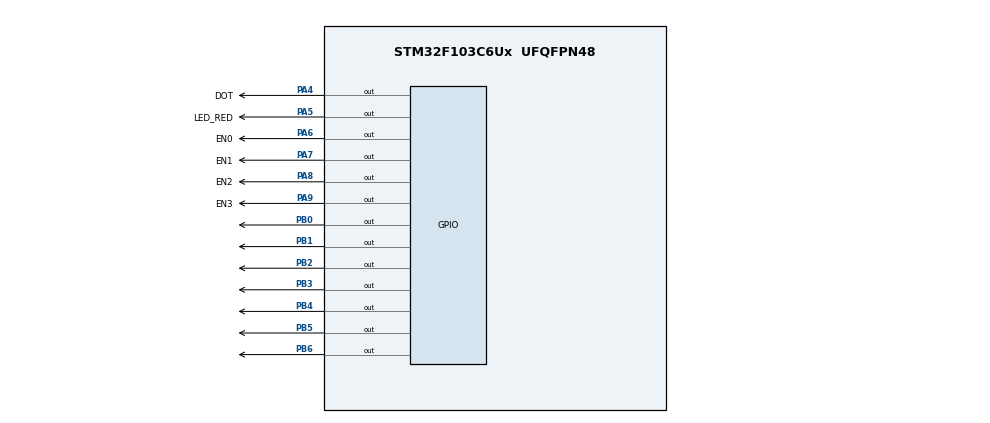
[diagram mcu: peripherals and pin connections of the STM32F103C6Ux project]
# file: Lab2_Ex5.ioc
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Mcu.Family=STM32F1
Mcu.Name=STM32F103C6Ux
Mcu.Package=UFQFPN48
NVIC.PriorityGroup=NVIC_PRIORITYGROUP_4
NVIC.TIM2_IRQn=true\:0\:0\:false\:false\:true\:true\:true
PA4.GPIO_Label=DOT
PA4.Signal=GPIO_Output
PA5.GPIO_Label=LED_RED
PA5.Signal=GPIO_Output
PA6.GPIO_Label=EN0
PA6.Signal=GPIO_Output
PA7.GPIO_Label=EN1
PA7.Signal=GPIO_Output
PA8.GPIO_Label=EN2
PA8.Signal=GPIO_Output
PA9.GPIO_Label=EN3
PA9.Signal=GPIO_Output
PB0.Signal=GPIO_Output
PB1.Signal=GPIO_Output
PB2.Signal=GPIO_Output
PB3.Signal=GPIO_Output
PB4.Signal=GPIO_Output
PB5.Signal=GPIO_Output
PB6.Signal=GPIO_Output
ProjectManager.HeapSize=0x200
ProjectManager.StackSize=0x400
ProjectManager.TargetToolchain=STM32CubeIDE
RCC.APB1Freq_Value=8000000
RCC.APB2Freq_Value=8000000
TIM2.Period=9
TIM2.Prescaler=7999
VP_SYS_VS_ND.Mode=No_Debug
VP_TIM2_VS_ClockSourceINT.Mode=Internal
board=custom

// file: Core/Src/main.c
/* USER CODE BEGIN Header */
/**
  ******************************************************************************
  * @file           : main.c
  * @brief          : Main program body
  ******************************************************************************
  * @attention
  *
  * <h2><center>&copy; Copyright (c) 2026 STMicroelectronics.
  * All rights reserved.</center></h2>
  *
  * This software component is licensed by ST under BSD 3-Clause license,
  * the "License"; You may not use this file except in compliance with the
  * License. You may obtain a copy of the License at:
  *                        opensource.org/licenses/BSD-3-Clause
  *
  ******************************************************************************
  */
/* USER CODE END Header */
#include "main.h"

TIM_HandleTypeDef htim2;

void SystemClock_Config(void);
static void MX_GPIO_Init(void);
static void MX_TIM2_Init(void);

/* USER CODE BEGIN 0 */
int hour = 15;
int minute = 8;
int second = 50;

const int MAX_LED = 4;
int index_led = 0;
int led_buffer[4] = {1,2,3,4};

int timer0_counter = 0;
int timer0_flag = 0;

int TIMER_CYCLE = 10;

int seg_counter = 0;

void display7SEG(int num) {
	const uint8_t segmentNum[10] =
	{
		0x40, // 0100 0000 -> 0
		0x79, // 0111 1001 -> 1
		0x24, // 0010 0100 -> 2
		0x30, // 0011 0000 -> 3
		0x19, // 0001 1001 -> 4
		0x12, // 0001 0010 -> 5
		0x02, // 0000 0010 -> 6
		0x78, // 0111 1000 -> 7
		0x00, // 0000 0000 -> 8
		0x10, // 0001 0000 -> 9
	};

    const uint16_t pin[7] =
    {
        GPIO_PIN_0,
        GPIO_PIN_1,
        GPIO_PIN_2,
        GPIO_PIN_3,
        GPIO_PIN_4,
        GPIO_PIN_5,
        GPIO_PIN_6
    };

    uint8_t hold = segmentNum[num];

    for(int i = 0; i < 7; ++i) {
    	if(hold % 2 == 0)
    		HAL_GPIO_WritePin(GPIOB, pin[i], GPIO_PIN_RESET);
    	else
    		HAL_GPIO_WritePin(GPIOB, pin[i], GPIO_PIN_SET);

    	hold >>= 1;
    }
}

void update7SEG(uint8_t index)
{
    HAL_GPIO_WritePin(EN0_GPIO_Port, EN0_Pin, GPIO_PIN_SET);
    HAL_GPIO_WritePin(EN1_GPIO_Port, EN1_Pin, GPIO_PIN_SET);
    HAL_GPIO_WritePin(EN2_GPIO_Port, EN2_Pin, GPIO_PIN_SET);
    HAL_GPIO_WritePin(EN3_GPIO_Port, EN3_Pin, GPIO_PIN_SET);

    switch (index)
    {
        case 0:
            display7SEG(led_buffer[0]);
            HAL_GPIO_WritePin(EN0_GPIO_Port, EN0_Pin, GPIO_PIN_RESET);
            break;

        case 1:
            display7SEG(led_buffer[1]);
            HAL_GPIO_WritePin(EN1_GPIO_Port, EN1_Pin, GPIO_PIN_RESET);
            break;

        case 2U:
            display7SEG(led_buffer[2]);
            HAL_GPIO_WritePin(EN2_GPIO_Port, EN2_Pin, GPIO_PIN_RESET);
            break;

        case 3U:
            display7SEG(led_buffer[3]);
            HAL_GPIO_WritePin(EN3_GPIO_Port, EN3_Pin, GPIO_PIN_RESET);
            break;

        default:
            break;
    }
}

void updateClockBuffer(void)
{
    led_buffer[0] = hour / 10;
    led_buffer[1] = hour % 10;

    led_buffer[2] = minute / 10;
    led_buffer[3] = minute % 10;
}

void setTimer0(int duration)
{
    timer0_counter = duration / TIMER_CYCLE;
    timer0_flag = 0;
}

void timer_run(void)
{
    if (timer0_counter > 0)
    {
        timer0_counter--;

        if (timer0_counter == 0)  timer0_flag = 1;
    }

}
/* USER CODE END 0 */

int main(void)
{

  /* MCU Configuration--------------------------------------------------------*/

  /* Reset of all peripherals, Initializes the Flash interface and the Systick. */
  HAL_Init();

  /* Configure the system clock */
  SystemClock_Config();

  /* Initialize all configured peripherals */
  MX_GPIO_Init();
  MX_TIM2_Init();

  /* Infinite loop */
  /* USER CODE BEGIN WHILE */

  updateClockBuffer();
  setTimer0(1000);
  HAL_TIM_Base_Start_IT(&htim2);

  while (1)
  {
    /* USER CODE END WHILE */
	  if (timer0_flag == 1)
	  {
		  second++;

	      if (second >= 60)
	      {
	    	  second = 0;
	          minute++;
	      }

	      if (minute >= 60)
	      {
	          minute = 0;
	          hour++;
	      }

	      if (hour >= 24) hour = 0;

          updateClockBuffer();
          HAL_GPIO_TogglePin(LED_RED_GPIO_Port, LED_RED_Pin);
          HAL_GPIO_TogglePin(GPIOA, GPIO_PIN_4);

          setTimer0(1000);
	   }

  }
}

void SystemClock_Config(void)
{
  RCC_OscInitTypeDef RCC_OscInitStruct = {0};
  RCC_ClkInitTypeDef RCC_ClkInitStruct = {0};

  /** Initializes the RCC Oscillators according to the specified parameters
  * in the RCC_OscInitTypeDef structure.
  */
  RCC_OscInitStruct.OscillatorType = RCC_OSCILLATORTYPE_HSI;
  RCC_OscInitStruct.HSIState = RCC_HSI_ON;
  RCC_OscInitStruct.HSICalibrationValue = RCC_HSICALIBRATION_DEFAULT;
  RCC_OscInitStruct.PLL.PLLState = RCC_PLL_NONE;
  if (HAL_RCC_OscConfig(&RCC_OscInitStruct) != HAL_OK)
  {
    Error_Handler();
  }
  /** Initializes the CPU, AHB and APB buses clocks
  */
  RCC_ClkInitStruct.ClockType = RCC_CLOCKTYPE_HCLK|RCC_CLOCKTYPE_SYSCLK
                              |RCC_CLOCKTYPE_PCLK1|RCC_CLOCKTYPE_PCLK2;
  RCC_ClkInitStruct.SYSCLKSource = RCC_SYSCLKSOURCE_HSI;
  RCC_ClkInitStruct.AHBCLKDivider = RCC_SYSCLK_DIV1;
  RCC_ClkInitStruct.APB1CLKDivider = RCC_HCLK_DIV1;
  RCC_ClkInitStruct.APB2CLKDivider = RCC_HCLK_DIV1;

  if (HAL_RCC_ClockConfig(&RCC_ClkInitStruct, FLASH_LATENCY_0) != HAL_OK)
  {
    Error_Handler();
  }
}

static void MX_TIM2_Init(void)
{

  TIM_ClockConfigTypeDef sClockSourceConfig = {0};
  TIM_MasterConfigTypeDef sMasterConfig = {0};

  htim2.Instance = TIM2;
  htim2.Init.Prescaler = 7999;
  htim2.Init.CounterMode = TIM_COUNTERMODE_UP;
  htim2.Init.Period = 9;
  htim2.Init.ClockDivision = TIM_CLOCKDIVISION_DIV1;
  htim2.Init.AutoReloadPreload = TIM_AUTORELOAD_PRELOAD_DISABLE;
  if (HAL_TIM_Base_Init(&htim2) != HAL_OK)
  {
    Error_Handler();
  }
  sClockSourceConfig.ClockSource = TIM_CLOCKSOURCE_INTERNAL;
  if (HAL_TIM_ConfigClockSource(&htim2, &sClockSourceConfig) != HAL_OK)
  {
    Error_Handler();
  }
  sMasterConfig.MasterOutputTrigger = TIM_TRGO_RESET;
  sMasterConfig.MasterSlaveMode = TIM_MASTERSLAVEMODE_DISABLE;
  if (HAL_TIMEx_MasterConfigSynchronization(&htim2, &sMasterConfig) != HAL_OK)
  {
    Error_Handler();
  }

}

static void MX_GPIO_Init(void)
{
  GPIO_InitTypeDef GPIO_InitStruct = {0};

  /* GPIO Ports Clock Enable */
  __HAL_RCC_GPIOA_CLK_ENABLE();
  __HAL_RCC_GPIOB_CLK_ENABLE();

  /*Configure GPIO pin Output Level */
  HAL_GPIO_WritePin(GPIOA, DOT_Pin|LED_RED_Pin|EN0_Pin|EN1_Pin
                          |EN2_Pin|EN3_Pin, GPIO_PIN_RESET);

  /*Configure GPIO pin Output Level */
  HAL_GPIO_WritePin(GPIOB, GPIO_PIN_0|GPIO_PIN_1|GPIO_PIN_2|GPIO_PIN_3
                          |GPIO_PIN_4|GPIO_PIN_5|GPIO_PIN_6, GPIO_PIN_RESET);

  /*Configure GPIO pins : DOT_Pin LED_RED_Pin EN0_Pin EN1_Pin
                           EN2_Pin EN3_Pin */
  GPIO_InitStruct.Pin = DOT_Pin|LED_RED_Pin|EN0_Pin|EN1_Pin
                          |EN2_Pin|EN3_Pin;
  GPIO_InitStruct.Mode = GPIO_MODE_OUTPUT_PP;
  GPIO_InitStruct.Pull = GPIO_NOPULL;
  GPIO_InitStruct.Speed = GPIO_SPEED_FREQ_LOW;
  HAL_GPIO_Init(GPIOA, &GPIO_InitStruct);

  /*Configure GPIO pins : PB0 PB1 PB2 PB3
                           PB4 PB5 PB6 */
  GPIO_InitStruct.Pin = GPIO_PIN_0|GPIO_PIN_1|GPIO_PIN_2|GPIO_PIN_3
                          |GPIO_PIN_4|GPIO_PIN_5|GPIO_PIN_6;
  GPIO_InitStruct.Mode = GPIO_MODE_OUTPUT_PP;
  GPIO_InitStruct.Pull = GPIO_NOPULL;
  GPIO_InitStruct.Speed = GPIO_SPEED_FREQ_LOW;
  HAL_GPIO_Init(GPIOB, &GPIO_InitStruct);

}

/* USER CODE BEGIN 4 */
void HAL_TIM_PeriodElapsedCallback(TIM_HandleTypeDef *htim)
{
	timer_run();

    seg_counter++;

    if (seg_counter >= 50)
    {
        seg_counter = 0;

        update7SEG(index_led++);

        if (index_led >= 4)   index_led = 0;
    }
}
/* USER CODE END 4 */

void Error_Handler(void)
{
  __disable_irq();
  while (1)
  {
  }
}

/************************ (C) COPYRIGHT STMicroelectronics *****END OF FILE****/
